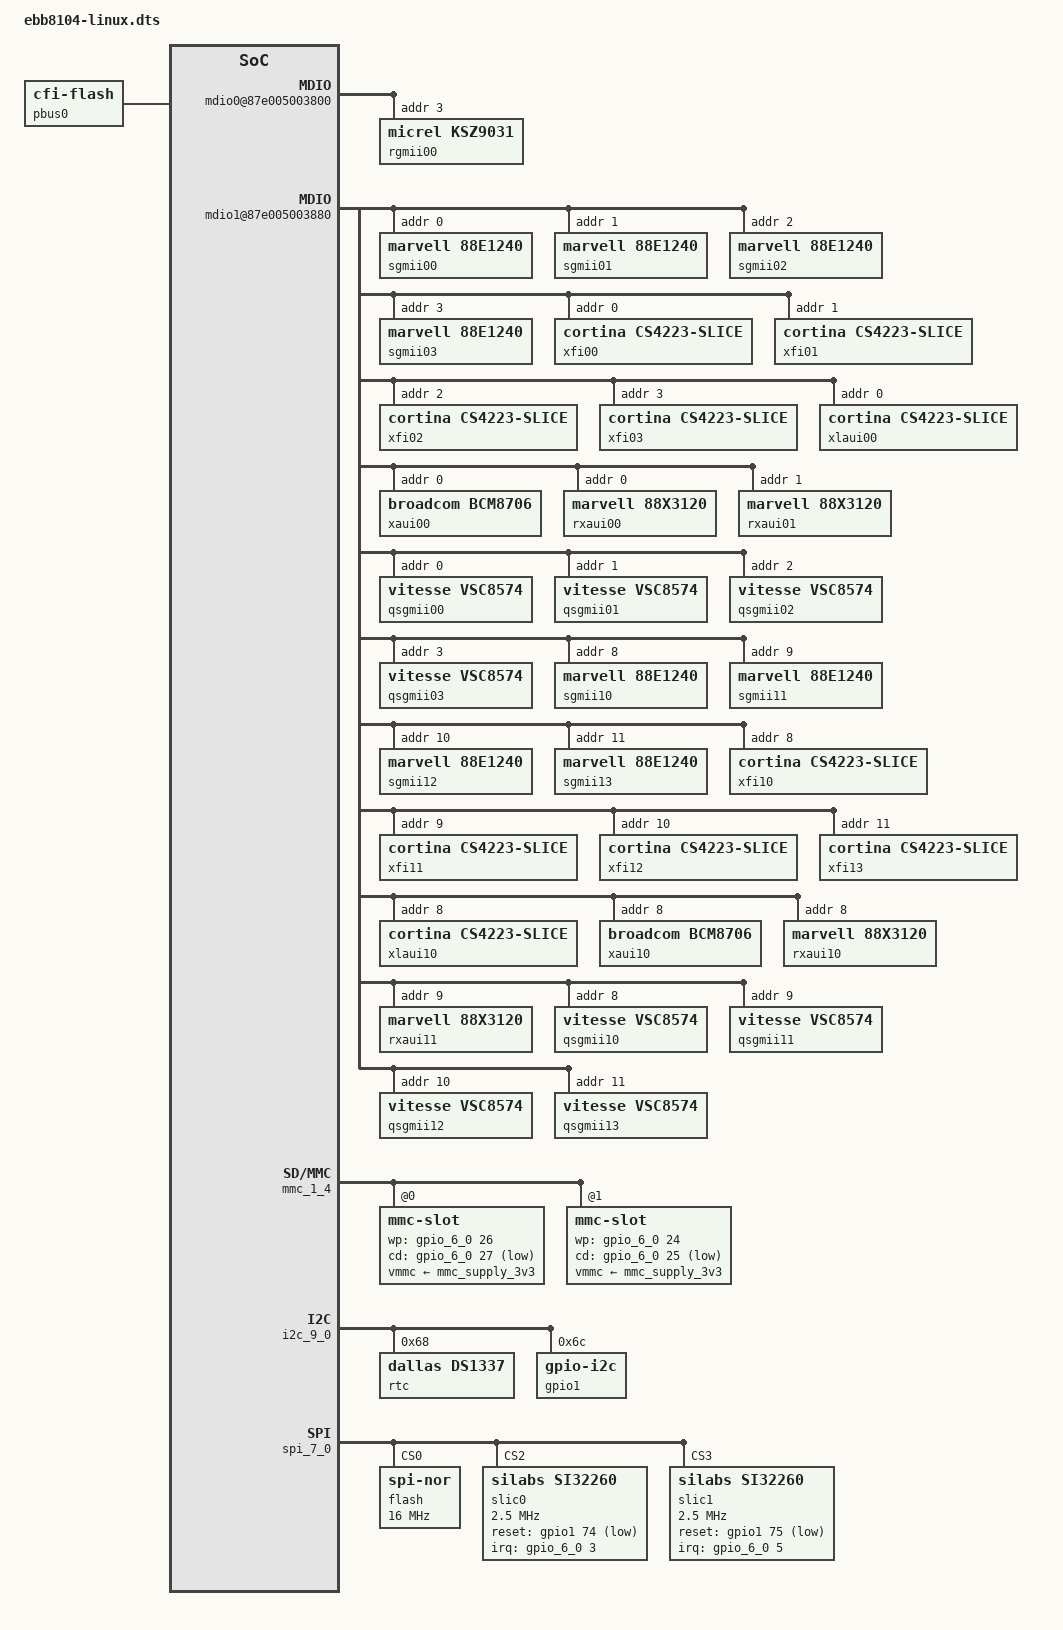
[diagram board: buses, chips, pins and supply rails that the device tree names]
/*
 * Cavium Thunder DTS file - Thunder board description
 *
 * Copyright (C) 2016, Cavium Inc.
 *
 * This file is dual-licensed: you can use it either under the terms
 * of the GPL or the X11 license, at your option. Note that this dual
 * licensing only applies to this file, and not this project as a
 * whole.
 *
 *  a) This library is free software; you can redistribute it and/or
 *     modify it under the terms of the GNU General Public License as
 *     published by the Free Software Foundation; either version 2 of the
 *     License, or (at your option) any later version.
 *
 *     This library is distributed in the hope that it will be useful,
 *     but WITHOUT ANY WARRANTY; without even the implied warranty of
 *     MERCHANTABILITY or FITNESS FOR A PARTICULAR PURPOSE.  See the
 *     GNU General Public License for more details.
 *
 *     You should have received a copy of the GNU General Public
 *     License along with this library; if not, write to the Free
 *     Software Foundation, Inc., 51 Franklin St, Fifth Floor, Boston,
 *     MA 02110-1301 USA
 *
 * Or, alternatively,
 *
 *  b) Permission is hereby granted, free of charge, to any person
 *     obtaining a copy of this software and associated documentation
 *     files (the "Software"), to deal in the Software without
 *     restriction, including without limitation the rights to use,
 *     copy, modify, merge, publish, distribute, sublicense, and/or
 *     sell copies of the Software, and to permit persons to whom the
 *     Software is furnished to do so, subject to the following
 *     conditions:
 *
 *     The above copyright notice and this permission notice shall be
 *     included in all copies or substantial portions of the Software.
 *
 *     THE SOFTWARE IS PROVIDED "AS IS", WITHOUT WARRANTY OF ANY KIND,
 *     EXPRESS OR IMPLIED, INCLUDING BUT NOT LIMITED TO THE WARRANTIES
 *     OF MERCHANTABILITY, FITNESS FOR A PARTICULAR PURPOSE AND
 *     NONINFRINGEMENT. IN NO EVENT SHALL THE AUTHORS OR COPYRIGHT
 *     HOLDERS BE LIABLE FOR ANY CLAIM, DAMAGES OR OTHER LIABILITY,
 *     WHETHER IN AN ACTION OF CONTRACT, TORT OR OTHERWISE, ARISING
 *     FROM, OUT OF OR IN CONNECTION WITH THE SOFTWARE OR THE USE OR
 *     OTHER DEALINGS IN THE SOFTWARE.
 */

/dts-v1/;

/include/ "cn81xx-linux.dtsi"

&mrml_bridge {
	mdio-nexus@1,3 {
		mdio0@87e005003800 {
			rgmii00: rgmii00 {
				reg = <3> ;
				compatible = "micrel,ksz9031", "ethernet-phy-ieee802.3-c22";
			};
		};

		mdio1@87e005003880 {
			sgmii00: sgmii00 {
				qlm-mode = "0x000,sgmii";
				reg = <0> ;
				compatible = "marvell,88e1240", "ethernet-phy-ieee802.3-c22";
				/* LED[2,1]: Speed, LED[3]: RX, LED[0]: TX, all open-drain */
				marvell,reg-init = <3 0x10 0 0x8665>,
						   <3 0x11 0 0x00aa>,
						   <3 0x12 0 0x4105>,
						   <3 0x13 0 0x8a08>;
			};
			sgmii01: sgmii01 {
				qlm-mode = "0x001,sgmii";
				reg = <1> ;
				compatible = "marvell,88e1240", "ethernet-phy-ieee802.3-c22";
				marvell,reg-init = <3 0x10 0 0x8665>,
						   <3 0x11 0 0x00aa>,
						   <3 0x12 0 0x4105>,
						   <3 0x13 0 0x8a08>;
				};
			sgmii02: sgmii02 {
				qlm-mode = "0x002,sgmii";
				reg = <2> ;
				compatible = "marvell,88e1240", "ethernet-phy-ieee802.3-c22";
				marvell,reg-init = <3 0x10 0 0x8665>,
						   <3 0x11 0 0x00aa>,
						   <3 0x12 0 0x4105>,
						   <3 0x13 0 0x8a08>;
			};
			sgmii03: sgmii03 {
				qlm-mode = "0x003,sgmii";
				reg = <3> ;
				compatible = "marvell,88e1240", "ethernet-phy-ieee802.3-c22";
				marvell,reg-init = <3 0x10 0 0x8665>,
						   <3 0x11 0 0x00aa>,
						   <3 0x12 0 0x4105>,
						   <3 0x13 0 0x8a08>;
			};
			xfi00: xfi00 {
				qlm-mode = "0x000,xfi","0x000,xfi-10g-kr";
				reg = <0> ;
				compatible = "cortina,cs4223-slice";
			};
			xfi01: xfi01 {
				qlm-mode = "0x001,xfi","0x001,xfi-10g-kr";
				reg = <1> ;
				compatible = "cortina,cs4223-slice";
			};
			xfi02: xfi02 {
				qlm-mode = "0x002,xfi","0x002,xfi-10g-kr";
				reg = <2> ;
				compatible = "cortina,cs4223-slice";
			};
			xfi03: xfi03 {
				qlm-mode = "0x003,xfi","0x003,xfi-10g-kr";
				reg = <3> ;
				compatible = "cortina,cs4223-slice";
			};
			xlaui00: xlaui00 {
				qlm-mode = "0x000,xlaui","0x000,xlaui-40g-kr";
				reg = <0> ;
				compatible = "cortina,cs4223-slice";
			};
			xaui00: xaui00 {
				qlm-mode = "0x000,xaui";
				reg = <0> ;
				compatible = "broadcom,bcm8706", "ethernet-phy-ieee802.3-c45";
				broadcom,c45-reg-init = <1 0xc808 0xff8f 0x70>;
			};
			rxaui00: rxaui00 {
				qlm-mode = "0x000,rxaui";
				reg = <0> ;
				compatible = "marvell,88x3120", "ethernet-phy-ieee802.3-c45";
			};
			rxaui01: rxaui01 {
				qlm-mode = "0x001,rxaui";
				reg = <1> ;
				compatible = "marvell,88x3120", "ethernet-phy-ieee802.3-c45";
			};
			qsgmii00: qsgmii00 {
				qlm-mode = "0x000,qsgmii";
				reg = <0> ;
				compatible = "vitesse,vsc8574", "ethernet-phy-ieee802.3-c22";
			};
			qsgmii01: qsgmii01 {
				qlm-mode = "0x001,qsgmii";
				reg = <1> ;
				compatible = "vitesse,vsc8574", "ethernet-phy-ieee802.3-c22";
				};
			qsgmii02: qsgmii02 {
				qlm-mode = "0x002,qsgmii";
				reg = <2> ;
				compatible = "vitesse,vsc8574", "ethernet-phy-ieee802.3-c22";
			};
			qsgmii03: qsgmii03 {
				qlm-mode = "0x003,qsgmii";
				reg = <3> ;
				compatible = "vitesse,vsc8574", "ethernet-phy-ieee802.3-c22";
			};

			sgmii10: sgmii10 {
				qlm-mode = "0x010,sgmii";
				reg = <8> ;
				compatible = "marvell,88e1240", "ethernet-phy-ieee802.3-c22";
				marvell,reg-init = <3 0x10 0 0x8665>,
						   <3 0x11 0 0x00aa>,
						   <3 0x12 0 0x4105>,
						   <3 0x13 0 0x8a08>;
			};
			sgmii11: sgmii11 {
				qlm-mode = "0x011,sgmii";
				reg = <9> ;
				compatible = "marvell,88e1240", "ethernet-phy-ieee802.3-c22";
				marvell,reg-init = <3 0x10 0 0x8665>,
						   <3 0x11 0 0x00aa>,
						   <3 0x12 0 0x4105>,
						   <3 0x13 0 0x8a08>;
			};
			sgmii12: sgmii12 {
				qlm-mode = "0x012,sgmii";
				reg = <10> ;
				compatible = "marvell,88e1240", "ethernet-phy-ieee802.3-c22";
				marvell,reg-init = <3 0x10 0 0x8665>,
						   <3 0x11 0 0x00aa>,
						   <3 0x12 0 0x4105>,
						   <3 0x13 0 0x8a08>;
			};
			sgmii13: sgmii13 {
				qlm-mode = "0x013,sgmii";
				reg = <11> ;
				compatible = "marvell,88e1240", "ethernet-phy-ieee802.3-c22";
				marvell,reg-init = <3 0x10 0 0x8665>,
						   <3 0x11 0 0x00aa>,
						   <3 0x12 0 0x4105>,
						   <3 0x13 0 0x8a08>;
			};
			xfi10: xfi10 {
				qlm-mode = "0x010,xfi","0x010,xfi-10g-kr";
				reg = <8> ;
				compatible = "cortina,cs4223-slice";
			};
			xfi11: xfi11 {
				qlm-mode = "0x011,xfi","0x011,xfi-10g-kr";
				reg = <9> ;
				compatible = "cortina,cs4223-slice";
			};
			xfi12: xfi12 {
				qlm-mode = "0x012,xfi","0x012,xfi-10g-kr";
				reg = <10> ;
				compatible = "cortina,cs4223-slice";
			};
			xfi13: xfi13 {
				qlm-mode = "0x013,xfi","0x013,xfi-10g-kr";
				reg = <11> ;
				compatible = "cortina,cs4223-slice";
			};
			xlaui10: xlaui10 {
				qlm-mode = "0x010,xlaui","0x010,xlaui-40g-kr";
				reg = <8> ;
				compatible = "cortina,cs4223-slice";
			};
			xaui10: xaui10 {
				qlm-mode = "0x010,xaui";
				reg = <8> ;
				compatible = "broadcom,bcm8706", "ethernet-phy-ieee802.3-c45";
				broadcom,c45-reg-init = <1 0xc808 0xff8f 0x70>;
			};
			rxaui10: rxaui10 {
				qlm-mode = "0x010,rxaui";
				reg = <8> ;
				compatible = "marvell,88x3120", "ethernet-phy-ieee802.3-c45";
			};
			rxaui11: rxaui11 {
				qlm-mode = "0x011,rxaui";
				reg = <9> ;
				compatible = "marvell,88x3120", "ethernet-phy-ieee802.3-c45";
			};
			qsgmii10: qsgmii10 {
				qlm-mode = "0x010,qsgmii";
				reg = <8> ;
				compatible = "vitesse,vsc8574", "ethernet-phy-ieee802.3-c22";
			};
			qsgmii11: qsgmii11 {
				qlm-mode = "0x011,qsgmii";
				reg = <9> ;
				compatible = "vitesse,vsc8574", "ethernet-phy-ieee802.3-c22";
			};
			qsgmii12: qsgmii12 {
				qlm-mode = "0x012,qsgmii";
				reg = <10> ;
				compatible = "vitesse,vsc8574", "ethernet-phy-ieee802.3-c22";
			};
			qsgmii13: qsgmii13 {
				qlm-mode = "0x013,qsgmii";
				reg = <11> ;
				compatible = "vitesse,vsc8574", "ethernet-phy-ieee802.3-c22";
			};
		};
	};

	rgx0 {
		rgmii00 {
			reg = <0>;
			local-mac-address = [00 00 00 00 00 00];
			phy-handle = <&rgmii00>;
		};
	};

	bgx0 {
		/* typename+qlm+typenumber eg :
		   sgmii+bgx0+sgmmi0
		*/
		   // SGMII
		sgmii00 {
			reg = <0>;
			qlm-mode = "0x000,sgmii";
			local-mac-address = [00 00 00 00 00 00];
			phy-handle = <&sgmii00>;
		};
		sgmii01 {
			reg = <1>;
			qlm-mode = "0x001,sgmii";
			local-mac-address = [00 00 00 00 00 00];
			phy-handle = <&sgmii01>;
		};
		sgmii02 {
			reg = <2>;
			qlm-mode = "0x002,sgmii";
			local-mac-address = [00 00 00 00 00 00];
			phy-handle = <&sgmii02>;
		};
		sgmii03 {
			reg = <3>;
			qlm-mode = "0x003,sgmii";
			local-mac-address = [00 00 00 00 00 00];
			phy-handle = <&sgmii03>;
		};
		xfi00 {
			reg = <0>;
			qlm-mode = "0x000,xfi";
			local-mac-address = [00 00 00 00 00 00];
			phy-handle = <&xfi00>;
		};
		xfi01 {
			reg = <1>;
			qlm-mode = "0x001,xfi";
			local-mac-address = [00 00 00 00 00 00];
			phy-handle = <&xfi01>;
		};
		xfi02 {
			reg = <2>;
			qlm-mode = "0x002,xfi";
			local-mac-address = [00 00 00 00 00 00];
			phy-handle = <&xfi02>;
		};
		xfi03 {
			reg = <3>;
			qlm-mode = "0x003,xfi";
			local-mac-address = [00 00 00 00 00 00];
			phy-handle = <&xfi03>;
		};
		// 10g-kr
		xfi-10g-kr00 {
			reg = <0>;
			qlm-mode = "0x000,xfi-10g-kr";
			local-mac-address = [00 00 00 00 00 00];
			phy-handle = <&xfi00>;
		};
		xfi-10g-kr01 {
			reg = <1>;
			qlm-mode = "0x001,xfi-10g-kr";
			local-mac-address = [00 00 00 00 00 00];
			phy-handle = <&xfi01>;
		};
		xfi-10g-kr02 {
			reg = <2>;
			qlm-mode = "0x002,xfi-10g-kr";
			local-mac-address = [00 00 00 00 00 00];
			phy-handle = <&xfi02>;
		};
		xfi-10g-kr03 {
			reg = <3>;
			qlm-mode = "0x003,xfi-10g-kr";
			local-mac-address = [00 00 00 00 00 00];
			phy-handle = <&xfi03>;
		};
		xlaui00 {
			reg = <0>;
			qlm-mode = "0x000,xlaui";
			local-mac-address = [00 00 00 00 00 00];
			phy-handle = <&xlaui00>;
		};
		xlaui-40g-kr00 {
			reg = <0>;
			qlm-mode = "0x000,xlaui-40g-kr";
			local-mac-address = [00 00 00 00 00 00];
			phy-handle = <&xlaui00>;
		};
		xaui00 {
			reg = <0>;
			qlm-mode = "0x000,xaui";
			local-mac-address = [00 00 00 00 00 00];
			phy-handle = <&xaui00>;
		};
		rxaui00 {
			reg = <0>;
			qlm-mode = "0x000,rxaui";
			local-mac-address = [00 00 00 00 00 00];
			phy-handle = <&rxaui00>;
		};
		rxaui01 {
			reg = <1>;
			qlm-mode = "0x001,rxaui";
			local-mac-address = [00 00 00 00 00 00];
			phy-handle = <&rxaui01>;
		};
		qsgmii00 {
			reg = <0>;
			qlm-mode = "0x000,qsgmii";
			local-mac-address = [00 00 00 00 00 00];
			phy-handle = <&qsgmii00>;
		};
		qsgmii01 {
			reg = <1>;
			qlm-mode = "0x001,qsgmii";
			local-mac-address = [00 00 00 00 00 00];
			phy-handle = <&qsgmii01>;
		};
		qsgmii02 {
			reg = <2>;
			qlm-mode = "0x002,qsgmii";
			local-mac-address = [00 00 00 00 00 00];
			phy-handle = <&qsgmii02>;
		};
		qsgmii03 {
			reg = <3>;
			qlm-mode = "0x003,qsgmii";
			local-mac-address = [00 00 00 00 00 00];
			phy-handle = <&qsgmii03>;
		};
	};
	bgx1 {
		sgmii10 {
			reg = <0>;
			qlm-mode = "0x010,sgmii";
			local-mac-address = [00 00 00 00 00 00];
			phy-handle = <&sgmii10>; /*"sgmmi"+bgx+no */
		};
		sgmii11 {
			reg = <1>;
			qlm-mode = "0x011,sgmii";
			local-mac-address = [00 00 00 00 00 00];
			phy-handle = <&sgmii11>;
		};
		sgmii12 {
			reg = <2>;
			qlm-mode = "0x012,sgmii";
			local-mac-address = [00 00 00 00 00 00];
			phy-handle = <&sgmii12>;
		};
		sgmii13 {
			reg = <3>;
			qlm-mode = "0x013,sgmii";
			local-mac-address = [00 00 00 00 00 00];
			phy-handle = <&sgmii13>;
		};
		xfi10 {
			reg = <0>;
			qlm-mode = "0x010,xfi";
			local-mac-address = [00 00 00 00 00 00];
			phy-handle = <&xfi10>;
		};
		xfi11 {
			reg = <1>;
			qlm-mode = "0x011,xfi";
			local-mac-address = [00 00 00 00 00 00];
			phy-handle = <&xfi11>;
		};
		xfi12 {
			reg = <2>;
			qlm-mode = "0x012,xfi";
			local-mac-address = [00 00 00 00 00 00];
			phy-handle = <&xfi12>;
		};
		xfi13 {
			reg = <3>;
			qlm-mode = "0x013,xfi";
			local-mac-address = [00 00 00 00 00 00];
			phy-handle = <&xfi13>;
		};
		// 10g_kr
		xfi-10g-kr10 {
			reg = <0>;
			qlm-mode = "0x010,xfi-10g-kr";
			local-mac-address = [00 00 00 00 00 00];
			phy-handle = <&xfi10>;
		};
		xfi-10g-kr11 {
			reg = <1>;
			qlm-mode = "0x011,xfi-10g-kr";
			local-mac-address = [00 00 00 00 00 00];
			phy-handle = <&xfi11>;
		};
		xfi-10g-kr12 {
			reg = <2>;
			qlm-mode = "0x012,xfi-10g-kr";
			local-mac-address = [00 00 00 00 00 00];
			phy-handle = <&xfi12>;
		};
		xfi-10g-kr13 {
			reg = <3>;
			qlm-mode = "0x013,xfi-10g-kr";
			local-mac-address = [00 00 00 00 00 00];
			phy-handle = <&xfi13>;
		};
		xlaui10 {
			reg = <0>;
			qlm-mode = "0x010,xlaui";
			local-mac-address = [00 00 00 00 00 00];
			phy-handle = <&xlaui10>;
		};
		xlaui-40g-kr-10 {
			reg = <0>;
			qlm-mode = "0x010,xlaui-40g-kr";
			local-mac-address = [00 00 00 00 00 00];
			phy-handle = <&xlaui10>;
		};
		xaui10 {
			reg = <0>;
			qlm-mode = "0x010,xaui";
			local-mac-address = [00 00 00 00 00 00];
			phy-handle = <&xaui10>;
		};
		rxaui10 {
			reg = <8>;
			qlm-mode = "0x010,rxaui";
			local-mac-address = [00 00 00 00 00 00];
			phy-handle = <&rxaui10>;
		};
		rxaui11 {
			reg = <9>;
			qlm-mode = "0x011,rxaui";
			local-mac-address = [00 00 00 00 00 00];
			phy-handle = <&rxaui11>;
		};
		qsgmii10 {
			reg = <0>;
			qlm-mode = "0x010,qsgmii";
			local-mac-address = [00 00 00 00 00 00];
			phy-handle = <&qsgmii10>;
		};
		qsgmii11 {
			reg = <1>;
			qlm-mode = "0x011,qsgmii";
			local-mac-address = [00 00 00 00 00 00];
			phy-handle = <&qsgmii11>;
		};
		qsgmii12 {
			reg = <2>;
			qlm-mode = "0x012,qsgmii";
			local-mac-address = [00 00 00 00 00 00];
			phy-handle = <&qsgmii12>;
		};
		qsgmii13 {
			reg = <3>;
			qlm-mode = "0x013,qsgmii";
			local-mac-address = [00 00 00 00 00 00];
			phy-handle = <&qsgmii13>;
		};
	};
};

&mmc_1_4 {
	mmc-slot@0 {
		compatible = "mmc-slot";
		reg = <0>;
		vmmc-supply = <&mmc_supply_3v3>;
		max-frequency = <26000000>;
		mmc-ddr-3_3v;
		/* 1.8v is not supported */
		no-1-8-v;
		/* Bus width is only 8 bits maximum */
		bus-width = <8>;
		/* Write-protect */
		wp-gpios = <&gpio_6_0 26 0>;
		/* Card detect */
		cd-gpios = <&gpio_6_0 27 1>;

		/* SD UHS SDR25 is supported */
		sd-uhs-sdr25;
		/* High-speed mode is supported */
		cap-sd-highspeed;
		cap-mmc-highspeed;
	};
	mmc-slot@1 {
		compatible = "mmc-slot";
		reg = <1>;
		vmmc-supply = <&mmc_supply_3v3>;
		max-frequency = <26000000>;
		mmc-ddr-3_3v;
		/* 1.8v is not supported */
		no-1-8-v;
		/* Bus width is only 8 bits maximum */
		bus-width = <8>;
		/* Write-protect */
		wp-gpios = <&gpio_6_0 24 0>;
		/* Card detect */
		cd-gpios = <&gpio_6_0 25 1>;
		/* SD UHS SDR25 is supported */
		sd-uhs-sdr25;
		/* High-speed mode is supported */
		cap-sd-highspeed;
		cap-mmc-highspeed;
	};
};

&i2c_9_0 {
	rtc@68 {
		compatible = "dallas,ds1337";
		reg = <0x68>;
		rtcmodel = <1>;
	};
	gpio1: cpld@6c {
		compatible = "gpio-i2c", "cavium,cpld8104";
		gpio-controller;
		reg = <0x6c>;
		ngpios = <160>; // 8bits for each reg 0..0x13
		#gpio-cells = <2>;
	};
};

&spi_7_0 {
         flash@0 {
		compatible = "jedec,spi-nor", "spi-flash";
		reg = <0x0>;
		spi-max-frequency = <16000000>;
		#address-cells = <1>;
		#size-cells = <1>;
	};
	slic0@2 {
		compatible = "silabs,si32260", "linux,spidev";
		reg = <2>;
		spi-max-frequency = <2500000>;
		reset-gpios = <&gpio1 74 1>;
		irq-gpios = <&gpio_6_0 3>;
		tx = <&tdm 0>;
		rx = <&tdm 1>;
	};
	slic1@3 {
		compatible = "silabs,si32260", "linux,spidev";
		reg = <3>;
		spi-max-frequency = <2500000>;
		reset-gpios = <&gpio1 75 1>;
		irq-gpios = <&gpio_6_0 5>;
		tx = <&tdm 2>;
		rx = <&tdm 3>;
	};
};

/ {
	soc@0 {
		pbus0: nor@0 {
			compatible = "cfi-flash";
			reg = <0x8000 0x0 0x0 0x800000>;
			device-width = <1>;
			bank-width = <1>;
			#address-cells = <1>;
			#size-cells = <1>;
			clocks = <&sclk>;
		};
	};
};
